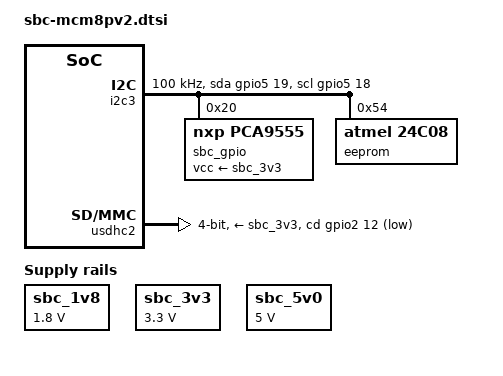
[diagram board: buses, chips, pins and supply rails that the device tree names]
// SPDX-License-Identifier: (GPL-2.0+ OR MIT)
/* Copyright 2026 CompuLab Ltd. */

&{/} {
	sbc_1v8: regulator-1v8 {
		compatible = "regulator-fixed";
		regulator-name = "sbc-1v8";
		regulator-min-microvolt = <1800000>;
		regulator-max-microvolt = <1800000>;
		regulator-always-on;
	};

	sbc_3v3: regulator-3v3 {
		compatible = "regulator-fixed";
		regulator-name = "sbc-3v3";
		regulator-min-microvolt = <3300000>;
		regulator-max-microvolt = <3300000>;
		regulator-always-on;
	};
	sbc_5v0: regulator-5v0 {
		compatible = "regulator-fixed";
		regulator-name = "sbc-5v0";
		regulator-min-microvolt = <5000000>;
		regulator-max-microvolt = <5000000>;
		regulator-always-on;
	};
};

&i2c3 {
	#address-cells = <1>;
	#size-cells = <0>;
	clock-frequency = <100000>;
	pinctrl-names = "default", "gpio";
	pinctrl-0 = <&pinctrl_sbc_i2c3>;
	pinctrl-1 = <&pinctrl_sbc_i2c3_gpio>;
	scl-gpios = <&gpio5 18 (GPIO_ACTIVE_HIGH | GPIO_OPEN_DRAIN)>;
	sda-gpios = <&gpio5 19 (GPIO_ACTIVE_HIGH | GPIO_OPEN_DRAIN)>;
	status = "okay";

	sbc_gpio: gpio@20 {
		compatible = "nxp,pca9555";
		vcc-supply = <&sbc_3v3>;
		reg = <0x20>;
		gpio-controller;
		#gpio-cells = <2>;
	};

	eeprom@54 {
		compatible = "atmel,24c08";
		reg = <0x54>;
		pagesize = <16>;
	};
};

/* Sheet 3: P4 micro-SD socket, directly powered from VCC_3V3. */
&usdhc2 {
	pinctrl-names = "default";
	pinctrl-0 = <&pinctrl_sbc_usdhc2>;
	cd-gpios = <&gpio2 12 GPIO_ACTIVE_LOW>;
	vmmc-supply = <&sbc_3v3>;
	bus-width = <4>;
	max-frequency = <50000000>;
	cap-sd-highspeed;
	disable-wp;
	no-1-8-v;
	status = "okay";
};

&iomuxc {
	pinctrl_sbc_usdhc2: sbc-usdhc2grp {
		fsl,pins = <
			MX8MP_IOMUXC_SD2_CLK__USDHC2_CLK		0x190
			MX8MP_IOMUXC_SD2_CMD__USDHC2_CMD		0x1d0
			MX8MP_IOMUXC_SD2_DATA0__USDHC2_DATA0	0x1d0
			MX8MP_IOMUXC_SD2_DATA1__USDHC2_DATA1	0x1d0
			MX8MP_IOMUXC_SD2_DATA2__USDHC2_DATA2	0x1d0
			MX8MP_IOMUXC_SD2_DATA3__USDHC2_DATA3	0x1d0
			MX8MP_IOMUXC_SD2_CD_B__GPIO2_IO12		0x1c4
		>;
	};

	pinctrl_sbc_i2c3: i2c3grp {
		fsl,pins = <
			MX8MP_IOMUXC_I2C3_SCL__I2C3_SCL			0x400001c2
			MX8MP_IOMUXC_I2C3_SDA__I2C3_SDA			0x400001c2
		>;
	};
	pinctrl_sbc_i2c3_gpio: i2c3grp-gpio {
		fsl,pins = <
			MX8MP_IOMUXC_I2C3_SCL__GPIO5_IO18	0x1c2
			MX8MP_IOMUXC_I2C3_SDA__GPIO5_IO19	0x1c2
		>;
	};
};
